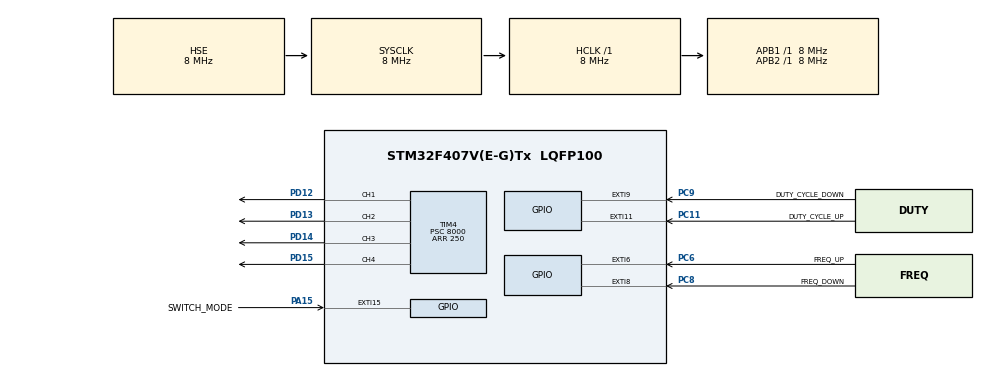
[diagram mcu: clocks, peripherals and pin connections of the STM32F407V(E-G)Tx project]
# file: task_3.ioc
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Mcu.Family=STM32F4
Mcu.Name=STM32F407V(E-G)Tx
Mcu.Package=LQFP100
NVIC.EXTI15_10_IRQn=true\:0\:0\:false\:false\:true\:true\:true\:true
NVIC.EXTI9_5_IRQn=true\:0\:0\:false\:false\:true\:true\:true\:true
NVIC.PriorityGroup=NVIC_PRIORITYGROUP_4
NVIC.TIM4_IRQn=true\:0\:0\:false\:false\:true\:true\:true\:true
PA15.GPIO_Label=SWITCH_MODE
PA15.GPIO_PuPd=GPIO_PULLUP
PA15.Signal=GPXTI15
PC11.GPIO_Label=DUTY_CYCLE_UP
PC11.GPIO_PuPd=GPIO_PULLUP
PC11.Signal=GPXTI11
PC6.GPIO_Label=FREQ_UP
PC6.GPIO_PuPd=GPIO_PULLUP
PC6.Signal=GPXTI6
PC8.GPIO_Label=FREQ_DOWN
PC8.GPIO_PuPd=GPIO_PULLUP
PC8.Signal=GPXTI8
PC9.GPIO_Label=DUTY_CYCLE_DOWN
PC9.GPIO_PuPd=GPIO_PULLUP
PC9.Signal=GPXTI9
PD12.Signal=S_TIM4_CH1
PD13.Signal=S_TIM4_CH2
PD14.Signal=S_TIM4_CH3
PD15.Signal=S_TIM4_CH4
PH0-OSC_IN.Mode=HSE-External-Oscillator
PH0-OSC_IN.Signal=RCC_OSC_IN
PH1-OSC_OUT.Mode=HSE-External-Oscillator
PH1-OSC_OUT.Signal=RCC_OSC_OUT
ProjectManager.HeapSize=0x200
ProjectManager.StackSize=0x400
ProjectManager.TargetToolchain=STM32CubeIDE
RCC.AHBFreq_Value=8000000
RCC.APB1Freq_Value=8000000
RCC.APB1TimFreq_Value=8000000
RCC.APB2Freq_Value=8000000
RCC.APB2TimFreq_Value=8000000
RCC.CortexFreq_Value=8000000
RCC.HCLKFreq_Value=8000000
RCC.HSE_VALUE=8000000
RCC.HSI_VALUE=16000000
RCC.LSE_VALUE=32768
RCC.SYSCLKFreq_VALUE=8000000
RCC.SYSCLKSource=RCC_SYSCLKSOURCE_HSE
RCC.VCOOutputFreq_Value=192000000
SH.S_TIM4_CH1.0=TIM4_CH1,PWM Generation1 CH1
SH.S_TIM4_CH2.0=TIM4_CH2,PWM Generation2 CH2
SH.S_TIM4_CH3.0=TIM4_CH3,PWM Generation3 CH3
SH.S_TIM4_CH4.0=TIM4_CH4,PWM Generation4 CH4
TIM4.AutoReloadPreload=TIM_AUTORELOAD_PRELOAD_ENABLE
TIM4.Channel-PWM\ Generation1\ CH1=TIM_CHANNEL_1
TIM4.Channel-PWM\ Generation2\ CH2=TIM_CHANNEL_2
TIM4.Channel-PWM\ Generation3\ CH3=TIM_CHANNEL_3
TIM4.Channel-PWM\ Generation4\ CH4=TIM_CHANNEL_4
TIM4.Period=250
TIM4.Prescaler=8000
VP_TIM4_VS_ClockSourceINT.Mode=Internal
board=custom

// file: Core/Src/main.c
/* USER CODE BEGIN Header */
/**
  ******************************************************************************
  * @file           : main.c
  * @brief          : Main program body
  ******************************************************************************
  * @attention
  *
  * Copyright (c) 2023 STMicroelectronics.
  * All rights reserved.
  *
  * This software is licensed under terms that can be found in the LICENSE file
  * in the root directory of this software component.
  * If no LICENSE file comes with this software, it is provided AS-IS.
  *
  ******************************************************************************
  */
/* USER CODE END Header */
#include "main.h"

/* USER CODE BEGIN Includes */
#include "UsrSrc/pwm_driver.h"
#include "UsrSrc/buttons.h"
/* USER CODE END Includes */

TIM_HandleTypeDef htim4;

void SystemClock_Config(void);
static void MX_GPIO_Init(void);
static void MX_TIM4_Init(void);

/* USER CODE BEGIN 0 */
void HAL_GPIO_EXTI_Callback (uint16_t GPIO_Pin) {
	switch (GPIO_Pin) {
	case SWT1:
		duty_cycle_up();
		break;
	case SWT3:
		duty_cycle_down();
		break;

	case SWT4:
		freq_up();
		break;
	case SWT5:
		freq_down();
		break;

	case SWT2:
		next_output(&htim4);
		break;

	default:
		// Unknown input
		break;
	}
}
/* USER CODE END 0 */

int main(void)
{

  /* MCU Configuration--------------------------------------------------------*/

  /* Reset of all peripherals, Initializes the Flash interface and the Systick. */
  HAL_Init();

  /* Configure the system clock */
  SystemClock_Config();

  /* Initialize all configured peripherals */
  MX_GPIO_Init();
  MX_TIM4_Init();

  /* Infinite loop */
  /* USER CODE BEGIN WHILE */

  init_pwm(&htim4);

  while (1)
  {
    /* USER CODE END WHILE */

  }
}

void SystemClock_Config(void)
{
  RCC_OscInitTypeDef RCC_OscInitStruct = {0};
  RCC_ClkInitTypeDef RCC_ClkInitStruct = {0};

  /** Configure the main internal regulator output voltage
  */
  __HAL_RCC_PWR_CLK_ENABLE();
  __HAL_PWR_VOLTAGESCALING_CONFIG(PWR_REGULATOR_VOLTAGE_SCALE1);

  /** Initializes the RCC Oscillators according to the specified parameters
  * in the RCC_OscInitTypeDef structure.
  */
  RCC_OscInitStruct.OscillatorType = RCC_OSCILLATORTYPE_HSE;
  RCC_OscInitStruct.HSEState = RCC_HSE_ON;
  RCC_OscInitStruct.PLL.PLLState = RCC_PLL_NONE;
  if (HAL_RCC_OscConfig(&RCC_OscInitStruct) != HAL_OK)
  {
    Error_Handler();
  }

  /** Initializes the CPU, AHB and APB buses clocks
  */
  RCC_ClkInitStruct.ClockType = RCC_CLOCKTYPE_HCLK|RCC_CLOCKTYPE_SYSCLK
                              |RCC_CLOCKTYPE_PCLK1|RCC_CLOCKTYPE_PCLK2;
  RCC_ClkInitStruct.SYSCLKSource = RCC_SYSCLKSOURCE_HSE;
  RCC_ClkInitStruct.AHBCLKDivider = RCC_SYSCLK_DIV1;
  RCC_ClkInitStruct.APB1CLKDivider = RCC_HCLK_DIV1;
  RCC_ClkInitStruct.APB2CLKDivider = RCC_HCLK_DIV1;

  if (HAL_RCC_ClockConfig(&RCC_ClkInitStruct, FLASH_LATENCY_0) != HAL_OK)
  {
    Error_Handler();
  }
}

static void MX_TIM4_Init(void)
{

  TIM_ClockConfigTypeDef sClockSourceConfig = {0};
  TIM_MasterConfigTypeDef sMasterConfig = {0};
  TIM_OC_InitTypeDef sConfigOC = {0};

  htim4.Instance = TIM4;
  htim4.Init.Prescaler = 16000;
  htim4.Init.CounterMode = TIM_COUNTERMODE_UP;
  htim4.Init.Period = 250;
  htim4.Init.ClockDivision = TIM_CLOCKDIVISION_DIV1;
  htim4.Init.AutoReloadPreload = TIM_AUTORELOAD_PRELOAD_ENABLE;
  if (HAL_TIM_Base_Init(&htim4) != HAL_OK)
  {
    Error_Handler();
  }
  sClockSourceConfig.ClockSource = TIM_CLOCKSOURCE_INTERNAL;
  if (HAL_TIM_ConfigClockSource(&htim4, &sClockSourceConfig) != HAL_OK)
  {
    Error_Handler();
  }
  if (HAL_TIM_PWM_Init(&htim4) != HAL_OK)
  {
    Error_Handler();
  }
  sMasterConfig.MasterOutputTrigger = TIM_TRGO_RESET;
  sMasterConfig.MasterSlaveMode = TIM_MASTERSLAVEMODE_DISABLE;
  if (HAL_TIMEx_MasterConfigSynchronization(&htim4, &sMasterConfig) != HAL_OK)
  {
    Error_Handler();
  }
  sConfigOC.OCMode = TIM_OCMODE_PWM1;
  sConfigOC.Pulse = 0;
  sConfigOC.OCPolarity = TIM_OCPOLARITY_HIGH;
  sConfigOC.OCFastMode = TIM_OCFAST_DISABLE;
  if (HAL_TIM_PWM_ConfigChannel(&htim4, &sConfigOC, TIM_CHANNEL_1) != HAL_OK)
  {
    Error_Handler();
  }
  if (HAL_TIM_PWM_ConfigChannel(&htim4, &sConfigOC, TIM_CHANNEL_2) != HAL_OK)
  {
    Error_Handler();
  }
  if (HAL_TIM_PWM_ConfigChannel(&htim4, &sConfigOC, TIM_CHANNEL_3) != HAL_OK)
  {
    Error_Handler();
  }
  if (HAL_TIM_PWM_ConfigChannel(&htim4, &sConfigOC, TIM_CHANNEL_4) != HAL_OK)
  {
    Error_Handler();
  }
  HAL_TIM_MspPostInit(&htim4);

}

static void MX_GPIO_Init(void)
{
  GPIO_InitTypeDef GPIO_InitStruct = {0};

  /* GPIO Ports Clock Enable */
  __HAL_RCC_GPIOH_CLK_ENABLE();
  __HAL_RCC_GPIOD_CLK_ENABLE();
  __HAL_RCC_GPIOC_CLK_ENABLE();
  __HAL_RCC_GPIOA_CLK_ENABLE();

  /*Configure GPIO pins : FREQ_UP_Pin FREQ_DOWN_Pin DUTY_CYCLE_DOWN_Pin DUTY_CYCLE_UP_Pin */
  GPIO_InitStruct.Pin = FREQ_UP_Pin|FREQ_DOWN_Pin|DUTY_CYCLE_DOWN_Pin|DUTY_CYCLE_UP_Pin;
  GPIO_InitStruct.Mode = GPIO_MODE_IT_RISING;
  GPIO_InitStruct.Pull = GPIO_PULLUP;
  HAL_GPIO_Init(GPIOC, &GPIO_InitStruct);

  /*Configure GPIO pin : SWITCH_MODE_Pin */
  GPIO_InitStruct.Pin = SWITCH_MODE_Pin;
  GPIO_InitStruct.Mode = GPIO_MODE_IT_RISING;
  GPIO_InitStruct.Pull = GPIO_PULLUP;
  HAL_GPIO_Init(SWITCH_MODE_GPIO_Port, &GPIO_InitStruct);

  /* EXTI interrupt init*/
  HAL_NVIC_SetPriority(EXTI9_5_IRQn, 0, 0);
  HAL_NVIC_EnableIRQ(EXTI9_5_IRQn);

  HAL_NVIC_SetPriority(EXTI15_10_IRQn, 0, 0);
  HAL_NVIC_EnableIRQ(EXTI15_10_IRQn);

}

void Error_Handler(void)
{
  __disable_irq();
  while (1)
  {
  }
}
